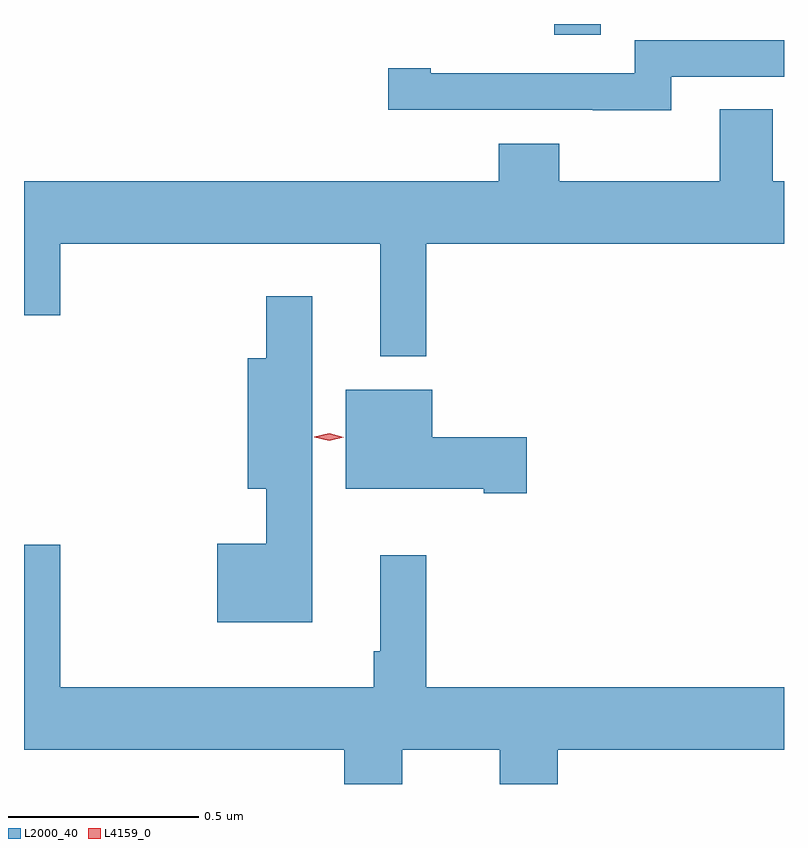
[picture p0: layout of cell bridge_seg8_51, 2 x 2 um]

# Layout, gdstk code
import gdstk
lib = gdstk.Library(unit=1e-6, precision=1e-09)
def R(c, l, rs):  # rectangles x0, y0, x1, y1
    for r in rs: c.add(gdstk.rectangle(r[:2], r[2:], *l))
def P(c, l, *ps):  # polygons
    for p in ps: c.add(gdstk.Polygon(p, *l))
L2000_40 = (2000, 40)
L4159_0 = (4159, 0)

bridge_seg8_51 = lib.new_cell('bridge_seg8_51')
R(bridge_seg8_51, L2000_40, [(1029.608,1113.054,1029.73,1113.082)])
P(bridge_seg8_51, L2000_40, [(1029.915,1112.943),(1030.212,1112.943),(1030.212,1113.039),(1029.819,1113.039),(1029.819,1112.952),(1029.512,1112.952),(1029.512,1112.953),(1029.283,1112.953),(1029.283,1112.965),(1029.171,1112.965),(1029.171,1112.856),(1029.709,1112.856),(1029.709,1112.855),(1029.915,1112.855)],
  [(1029.271,1112.504),(1030.212,1112.504),(1030.212,1112.668),(1030.183,1112.668),(1030.183,1112.858),(1030.043,1112.858),(1030.043,1112.668),(1029.621,1112.668),(1029.621,1112.767),(1029.461,1112.767),(1029.461,1112.668),(1028.212,1112.668),(1028.212,1112.316),(1028.308,1112.316),(1028.308,1112.504),(1029.149,1112.504),(1029.149,1112.208),(1029.271,1112.208)],
  [(1028.971,1112.365),(1028.85,1112.365),(1028.85,1112.203),(1028.801,1112.203),(1028.801,1111.859),(1028.85,1111.859),(1028.85,1111.714),(1028.72,1111.714),(1028.72,1111.508),(1028.971,1111.508)],
  [(1029.535,1111.994),(1029.286,1111.994),(1029.286,1112.119),(1029.059,1112.119),(1029.059,1111.859),(1029.422,1111.859),(1029.422,1111.847),(1029.535,1111.847)],
  [(1029.208,1111.172),(1029.464,1111.172),(1029.464,1111.082),(1029.617,1111.082),(1029.617,1111.172),(1030.212,1111.172),(1030.212,1111.336),(1029.271,1111.336),(1029.271,1111.684),(1029.149,1111.684),(1029.149,1111.432),(1029.132,1111.432),(1029.132,1111.336),(1028.308,1111.336),(1028.308,1111.711),(1028.212,1111.711),(1028.212,1111.172),(1029.055,1111.172),(1029.055,1111.082),(1029.208,1111.082)])
P(bridge_seg8_51, L4159_0, [(1029.015,1111.985),(1028.976,1111.995),(1028.976,1111.996),(1028.976,1111.996),(1029.015,1112.005),(1029.054,1111.995),(1029.054,1111.995),(1029.054,1111.995)])

lib.write_gds('bridge_seg8_51.gds')
